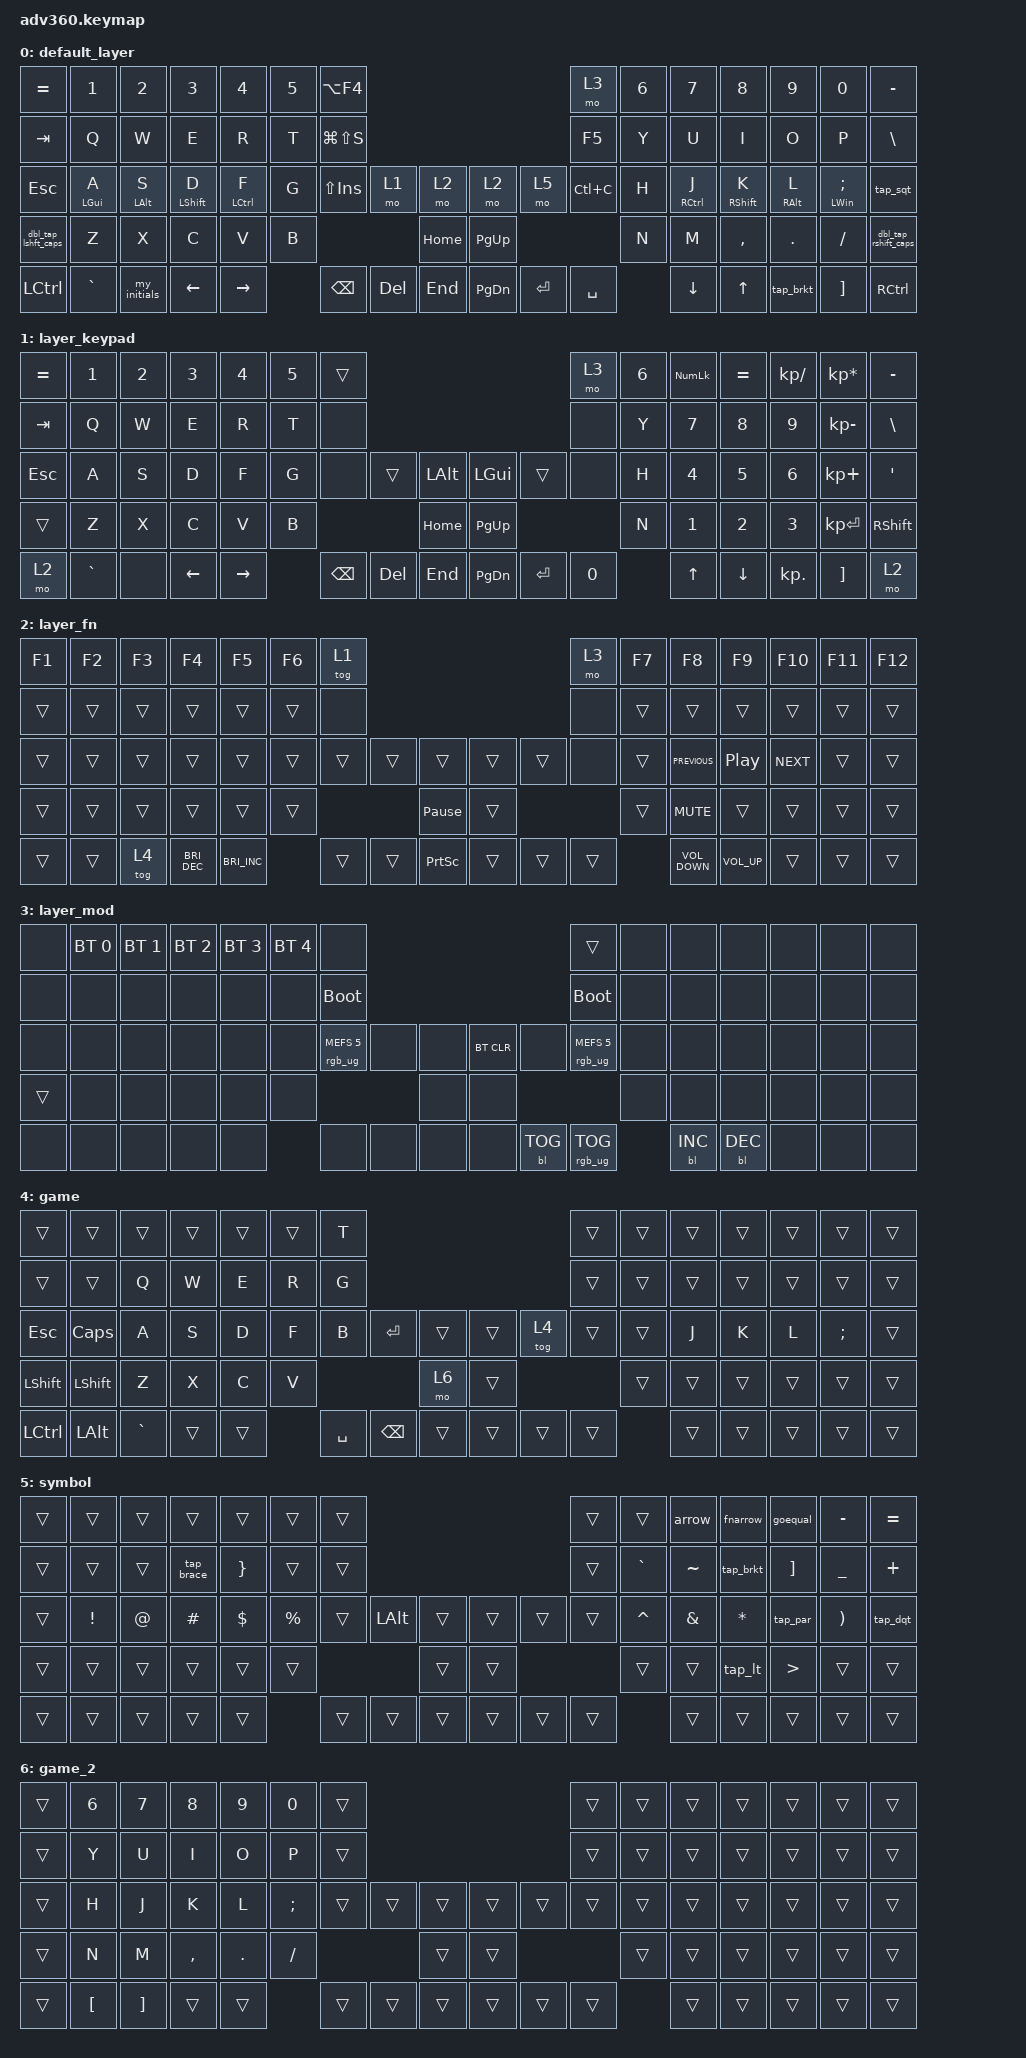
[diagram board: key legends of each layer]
/*
 * Copyright (c) 2020 The ZMK Contributors
 *
 * SPDX-License-Identifier: MIT
 */
/* THIS FILE WAS GENERATED!
 *
 * This file was generated automatically. You may or may not want to
 * edit it directly.
 */

#include <behaviors.dtsi>
#include <dt-bindings/zmk/backlight.h>
#include <dt-bindings/zmk/bt.h>
#include <dt-bindings/zmk/keys.h>
#include <dt-bindings/zmk/rgb.h>

/ {
    behaviors {
        #include "macros.dtsi"
    #include "version.dtsi"

        hm: homerow_mods {
            compatible = "zmk,behavior-hold-tap";
            label = "HOMEROW_MODS";
            #binding-cells = <2>;
            tapping-term-ms = <250>;
            quick_tap_ms = <175>;
            flavor = "tap-preferred";
            bindings = <&kp>, <&kp>;
        };

        kp_tog: kp_tog {
            compatible = "zmk,behavior-hold-tap";
            label = "KP_TOG";
            bindings = <&kp>, <&tog>;

            #binding-cells = <2>;
            tapping-term-ms = <250>;
        };

        hold_layer: hold_layer {
            compatible = "zmk,behavior-hold-tap";
            label = "HOLD_LAYER";
            bindings = <&mo>, <&kp>;

            #binding-cells = <2>;
            tapping-term-ms = <250>;
            flavor = "balanced";
        };

        dbl_tap_sym: dbl_tap_sym {
            compatible = "zmk,behavior-tap-dance";
            label = "DBL_TAP_SYM";
            #binding-cells = <0>;
            bindings = <&mo 5>, <&tog 5>;

            tapping-term-ms = <175>;
        };

        dbl_tap_lshft_caps: dbl_tap_lshft_caps {
            compatible = "zmk,behavior-tap-dance";
            label = "DBL_TAP_LSHFT_CAPS";
            #binding-cells = <0>;
            bindings = <&sk LEFT_SHIFT>, <&caps_word>;
        };

        dbl_tap_np: dbl_tap_np {
            compatible = "zmk,behavior-tap-dance";
            label = "DBL_TAP_NP";
            #binding-cells = <0>;
            bindings = <&mo 1>, <&tog 1>;

            tapping-term-ms = <175>;
        };

        tap_sqt: tap_sqt {
            compatible = "zmk,behavior-tap-dance";
            label = "TAP_SQT";
            #binding-cells = <0>;
            bindings = <&kp SINGLE_QUOTE>, <&in_sqt>;
        };

        tap_dqt: tap_dqt {
            compatible = "zmk,behavior-tap-dance";
            label = "TAP_DQT";
            #binding-cells = <0>;
            bindings = <&kp DOUBLE_QUOTES>, <&in_dqt>;
        };

        tap_par: tap_par {
            compatible = "zmk,behavior-tap-dance";
            label = "TAP_PAR";
            #binding-cells = <0>;
            bindings = <&kp LEFT_PARENTHESIS>, <&in_paren>;
        };

        tap_brkt: tap_brkt {
            compatible = "zmk,behavior-tap-dance";
            label = "TAP_BRKT";
            #binding-cells = <0>;
            bindings = <&kp LEFT_BRACKET>, <&in_brkt>;
        };

        tap_brace: tap_brace {
            compatible = "zmk,behavior-tap-dance";
            label = "TAP_BRACE";
            #binding-cells = <0>;
            bindings = <&kp LEFT_BRACE>, <&in_brace>;
        };

        tap_lt: tap_lt {
            compatible = "zmk,behavior-tap-dance";
            label = "TAP_LT";
            #binding-cells = <0>;
            bindings = <&kp LESS_THAN>, <&in_lt>;
        };

        dbl_tap_rshift_caps: dbl_tap_rshift_caps {
            compatible = "zmk,behavior-tap-dance";
            label = "DBL_TAP_RSHIFT_CAPS";
            #binding-cells = <0>;
            bindings = <&sk RIGHT_SHIFT>, <&caps_word>;
        };

        mod_lt_dbl_tap: mod_lt_dbl_tap {
            compatible = "zmk,behavior-mod-morph";
            label = "MOD_LT_DBL_TAP";
            bindings = <&kp COMMA>, <&tap_lt>;

            #binding-cells = <0>;
            mods = <(MOD_LSFT|MOD_RSFT)>;
        };
    };

    macros {
        paste: paste {
            compatible = "zmk,behavior-macro";
            #binding-cells = <0>;
            bindings = <&kp LS(INS)>;
            label = "PASTE";
        };

        arrow: arrow {
            compatible = "zmk,behavior-macro";
            #binding-cells = <0>;
            bindings = <&kp MINUS &kp GREATER_THAN>;
            label = "ARROW";
        };

        fnarrow: fnarrow {
            compatible = "zmk,behavior-macro";
            #binding-cells = <0>;
            bindings = <&kp EQUAL &kp GREATER_THAN>;
            label = "FNARROW";
        };

        goequal: goequal {
            compatible = "zmk,behavior-macro";
            #binding-cells = <0>;
            bindings = <&kp COLON &kp EQUAL>;
            label = "GOEQUAL";
        };

        in_brkt: in_brkt {
            compatible = "zmk,behavior-macro";
            #binding-cells = <0>;
            bindings = <&kp LEFT_BRACKET &kp RIGHT_BRACKET &kp LEFT_ARROW>;
            label = "IN_BRKT";
        };

        in_brace: in_brace {
            compatible = "zmk,behavior-macro";
            #binding-cells = <0>;
            bindings = <&kp LEFT_BRACE &kp RIGHT_BRACE &kp LEFT_ARROW>;
            label = "IN_BRACE";
        };

        in_paren: in_paren {
            compatible = "zmk,behavior-macro";
            #binding-cells = <0>;
            bindings = <&kp LEFT_PARENTHESIS &kp RIGHT_PARENTHESIS &kp LEFT_ARROW>;
            label = "IN_PAREN";
        };

        in_dqt: in_dqt {
            compatible = "zmk,behavior-macro";
            #binding-cells = <0>;
            bindings = <&kp DOUBLE_QUOTES &kp DOUBLE_QUOTES &kp LEFT_ARROW>;
            label = "IN_DQT";
        };

        in_sqt: in_sqt {
            compatible = "zmk,behavior-macro";
            #binding-cells = <0>;
            bindings = <&kp SINGLE_QUOTE &kp SINGLE_QUOTE &kp LEFT_ARROW>;
            label = "IN_SQT";
        };

        in_lt: in_lt {
            compatible = "zmk,behavior-macro";
            #binding-cells = <0>;
            bindings = <&kp LESS_THAN &kp GREATER_THAN &kp LEFT_ARROW>;
            label = "IN_LT";
        };

        my_initials: my_initials {
            compatible = "zmk,behavior-macro";
            #binding-cells = <0>;
            bindings = <&kp LPAR &kp T &kp A &kp I &kp RPAR>;
            label = "MY_INITIALS";
        };
    };

    keymap {
        compatible = "zmk,keymap";

        default_layer {
            bindings = <
&kp EQUAL            &kp N1          &kp N2        &kp N3            &kp N4       &kp N5  &kp LA(F4)                                                   &mo 3      &kp N6  &kp N7          &kp N8        &kp N9           &kp N0                  &kp MINUS
&kp TAB              &kp Q           &kp W         &kp E             &kp R        &kp T   &kp LG(LS(S))                                                &kp F5     &kp Y   &kp U           &kp I         &kp O            &kp P                   &kp BSLH
&kp ESCAPE           &hm LEFT_GUI A  &hm LALT S    &hm LEFT_SHIFT D  &hm LCTRL F  &kp G   &kp LS(INSERT)  &mo 1    &mo 2         &mo 2      &mo 5      &kp LC(C)  &kp H   &hm RCTRL J     &hm RSHIFT K  &hm RIGHT_ALT L  &hm LEFT_WIN SEMICOLON  &tap_sqt
&dbl_tap_lshft_caps  &kp Z           &kp X         &kp C             &kp V        &kp B                            &kp HOME      &kp PG_UP                        &kp N   &kp M           &kp COMMA     &kp DOT          &kp FSLH                &dbl_tap_rshift_caps
&kp LCTRL            &kp GRAVE       &my_initials  &kp LEFT          &kp RIGHT            &kp BSPC        &kp DEL  &kp END       &kp PG_DN  &kp ENTER  &kp SPACE          &kp DOWN_ARROW  &kp UP_ARROW  &tap_brkt        &kp RBKT                &kp RCTRL
            >;
        };

        layer_keypad {
            bindings = <
&kp EQUAL  &kp N1     &kp N2  &kp N3    &kp N4     &kp N5  &trans                                                 &mo 3         &kp N6  &kp KP_NUM    &kp EQUAL     &kp KP_DIVIDE  &kp KP_MULTIPLY  &kp MINUS
&kp TAB    &kp Q      &kp W   &kp E     &kp R      &kp T   &none                                                  &none         &kp Y   &kp NUMBER_7  &kp NUMBER_8  &kp N9         &kp KP_MINUS     &kp BSLH
&kp ESC    &kp A      &kp S   &kp D     &kp F      &kp G   &none     &trans   &kp LALT      &kp LGUI   &trans     &none         &kp H   &kp NUMBER_4  &kp NUMBER_5  &kp NUMBER_6   &kp KP_PLUS      &kp SQT
&trans     &kp Z      &kp X   &kp C     &kp V      &kp B                      &kp HOME      &kp PG_UP                           &kp N   &kp NUMBER_1  &kp NUMBER_2  &kp NUMBER_3   &kp KP_ENTER     &kp RSHFT
&mo 2      &kp GRAVE  &none   &kp LEFT  &kp RIGHT          &kp BSPC  &kp DEL  &kp END       &kp PG_DN  &kp ENTER  &kp NUMBER_0          &kp UP        &kp DOWN      &kp KP_DOT     &kp RBKT         &mo 2
            >;
        };

        layer_fn {
            bindings = <
&kp F1  &kp F2  &kp F3  &kp F4                &kp F5                &kp F6  &tog 1                                               &mo 3   &kp F7  &kp F8             &kp F9            &kp F10     &kp F11  &kp F12
&trans  &trans  &trans  &trans                &trans                &trans  &none                                                &none   &trans  &trans             &trans            &trans      &trans   &trans
&trans  &trans  &trans  &trans                &trans                &trans  &trans  &trans  &trans               &trans  &trans  &none   &trans  &kp C_PREVIOUS     &kp C_PLAY_PAUSE  &kp C_NEXT  &trans   &trans
&trans  &trans  &trans  &trans                &trans                &trans                  &kp PAUSE_BREAK      &trans                  &trans  &kp C_MUTE         &trans            &trans      &trans   &trans
&trans  &trans  &tog 4  &kp C_BRIGHTNESS_DEC  &kp C_BRIGHTNESS_INC          &trans  &trans  &kp PRINTSCREEN      &trans  &trans  &trans          &kp C_VOLUME_DOWN  &kp C_VOLUME_UP   &trans      &trans   &trans
            >;
        };

        layer_mod {
            bindings = <
&none   &bt BT_SEL 0  &bt BT_SEL 1  &bt BT_SEL 2  &bt BT_SEL 3  &bt BT_SEL 4  &none                                                             &trans                  &none  &none       &none       &none  &none  &none
&none   &none         &none         &none         &none         &none         &bootloader                                                       &bootloader             &none  &none       &none       &none  &none  &none
&none   &none         &none         &none         &none         &none         &rgb_ug RGB_MEFS_CMD 5  &none  &none      &bt BT_CLR  &none       &rgb_ug RGB_MEFS_CMD 5  &none  &none       &none       &none  &none  &none
&trans  &none         &none         &none         &none         &none                                        &none      &none                                           &none  &none       &none       &none  &none  &none
&none   &none         &none         &none         &none                       &none                   &none  &none      &none       &bl BL_TOG  &rgb_ug RGB_TOG                &bl BL_INC  &bl BL_DEC  &none  &none  &none
            >;
        };

        game {
            bindings = <
&trans          &trans          &trans     &trans  &trans  &trans  &kp T                                                 &trans  &trans  &trans  &trans  &trans  &trans         &trans
&trans          &trans          &kp Q      &kp W   &kp E   &kp R   &kp G                                                 &trans  &trans  &trans  &trans  &trans  &trans         &trans
&kp ESCAPE      &kp CAPSLOCK    &kp A      &kp S   &kp D   &kp F   &kp B      &kp ENTER      &trans      &trans  &tog 4  &trans  &trans  &kp J   &kp K   &kp L   &kp SEMICOLON  &trans
&kp LEFT_SHIFT  &kp LEFT_SHIFT  &kp Z      &kp X   &kp C   &kp V                             &mo 6       &trans                  &trans  &trans  &trans  &trans  &trans         &trans
&kp LCTRL       &kp LEFT_ALT    &kp GRAVE  &trans  &trans          &kp SPACE  &kp BACKSPACE  &trans      &trans  &trans  &trans          &trans  &trans  &trans  &trans         &trans
            >;
        };

        symbol {
            bindings = <
&trans  &trans           &trans  &trans      &trans           &trans       &trans                                            &trans  &trans     &arrow         &fnarrow   &goequal           &kp MINUS              &kp EQUAL
&trans  &trans           &trans  &tap_brace  &kp RIGHT_BRACE  &trans       &trans                                            &trans  &kp GRAVE  &kp TILDE      &tap_brkt  &kp RIGHT_BRACKET  &kp UNDERSCORE         &kp PLUS
&trans  &kp EXCLAMATION  &kp AT  &kp HASH    &kp DOLLAR       &kp PERCENT  &trans  &kp LEFT_ALT  &trans      &trans  &trans  &trans  &kp CARET  &kp AMPERSAND  &kp STAR   &tap_par           &kp RIGHT_PARENTHESIS  &tap_dqt
&trans  &trans           &trans  &trans      &trans           &trans                             &trans      &trans                  &trans     &trans         &tap_lt    &kp GREATER_THAN   &trans                 &trans
&trans  &trans           &trans  &trans      &trans                        &trans  &trans        &trans      &trans  &trans  &trans             &trans         &trans     &trans             &trans                 &trans
            >;
        };

        game_2 {
            bindings = <
&trans  &kp NUMBER_6      &kp N7             &kp N8     &kp N9      &kp N0         &trans                                      &trans  &trans  &trans  &trans  &trans  &trans  &trans
&trans  &kp Y             &kp U              &kp I      &kp O       &kp P          &trans                                      &trans  &trans  &trans  &trans  &trans  &trans  &trans
&trans  &kp H             &kp J              &kp K      &kp L       &kp SEMICOLON  &trans  &trans  &trans      &trans  &trans  &trans  &trans  &trans  &trans  &trans  &trans  &trans
&trans  &kp N             &kp M              &kp COMMA  &kp PERIOD  &kp SLASH                      &trans      &trans                  &trans  &trans  &trans  &trans  &trans  &trans
&trans  &kp LEFT_BRACKET  &kp RIGHT_BRACKET  &trans     &trans                     &trans  &trans  &trans      &trans  &trans  &trans          &trans  &trans  &trans  &trans  &trans
            >;
        };
    };
};
